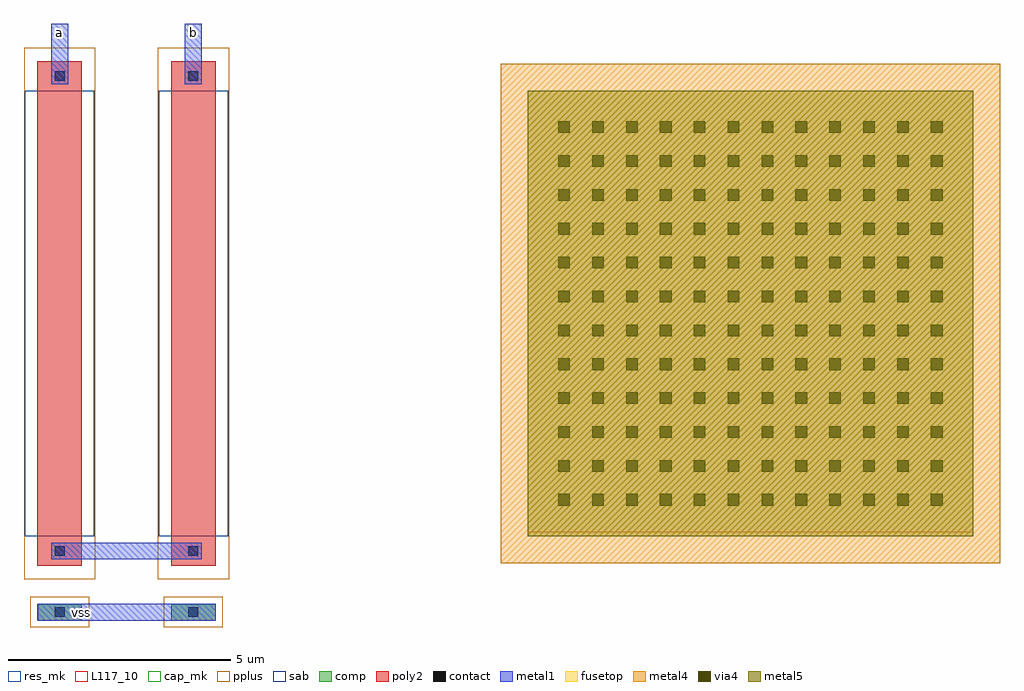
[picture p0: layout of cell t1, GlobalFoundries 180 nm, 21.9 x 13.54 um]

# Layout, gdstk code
import gdstk
lib = gdstk.Library(unit=1e-6, precision=1e-09)
def R(c, l, rs):  # rectangles x0, y0, x1, y1
    for r in rs: c.add(gdstk.rectangle(r[:2], r[2:], *l))
def A(c, l, x, y, w, h, nx, ny, dx, dy):  # array of equal rectangles
    R(c, l, [(x+i*dx, y+j*dy, x+i*dx+w, y+j*dy+h) for i in range(nx) for j in range(ny)])
comp = (22, 0)
poly2 = (30, 0)
pplus = (31, 0)
contact = (33, 0)
metal1 = (34, 0)
via4 = (41, 0)
metal4 = (46, 0)
sab = (49, 0)
fusetop = (75, 0)
metal5 = (81, 0)
res_mk = (110, 5)
cap_mk = (117, 5)
L117_10 = (117, 10)

c_t1 = lib.new_cell('t1')
R(c_t1, comp, [(-1,-1.88,0,-1.52), (2,-1.88,3,-1.52)])
R(c_t1, poly2, [(-1,-0.66,0,10.66), (2,-0.66,3,10.66)])
R(c_t1, pplus, [(-1.16,-2.04,0.16,-1.36), (1.84,-2.04,3.16,-1.36), (-1.3,-0.96,0.3,10.96), (1.7,-0.96,3.3,10.96)])
R(c_t1, contact, [(-0.61,-1.81,-0.39,-1.59), (2.39,-1.81,2.61,-1.59), (-0.61,-0.44,-0.39,-0.22), (2.39,-0.44,2.61,-0.22), (-0.61,10.22,-0.39,10.44), (2.39,10.22,2.61,10.44)])
R(c_t1, metal1, [(-0.99,-1.89,3,-1.51), (-0.69,-0.52,2.69,-0.14), (-0.69,10.14,-0.31,11.5), (2.31,10.14,2.69,11.5)])
A(c_t1, via4, 10.69, 0.69, 0.26, 0.26, 12, 12, 0.76, 0.76)
R(c_t1, metal4, [(9.4,-0.6,20.6,10.6)])
R(c_t1, sab, [(-1.28,0,0.28,10), (1.72,0,3.28,10)])
R(c_t1, fusetop, [(10,0,20,10)])
R(c_t1, metal5, [(10,0,20,10)])
R(c_t1, res_mk, [(-1,0,0,10), (2,0,3,10)])
R(c_t1, cap_mk, [(9.4,-0.6,20.6,10.6)])
R(c_t1, L117_10, [(10,0,20,0.1)])
c_t1.add(gdstk.Label('a', (-0.5,11.3), layer=34, texttype=10))
c_t1.add(gdstk.Label('b', (2.5,11.3), layer=34, texttype=10))
c_t1.add(gdstk.Label('vss', (0,-1.7), layer=34, texttype=10))

lib.write_gds('t1.gds')
